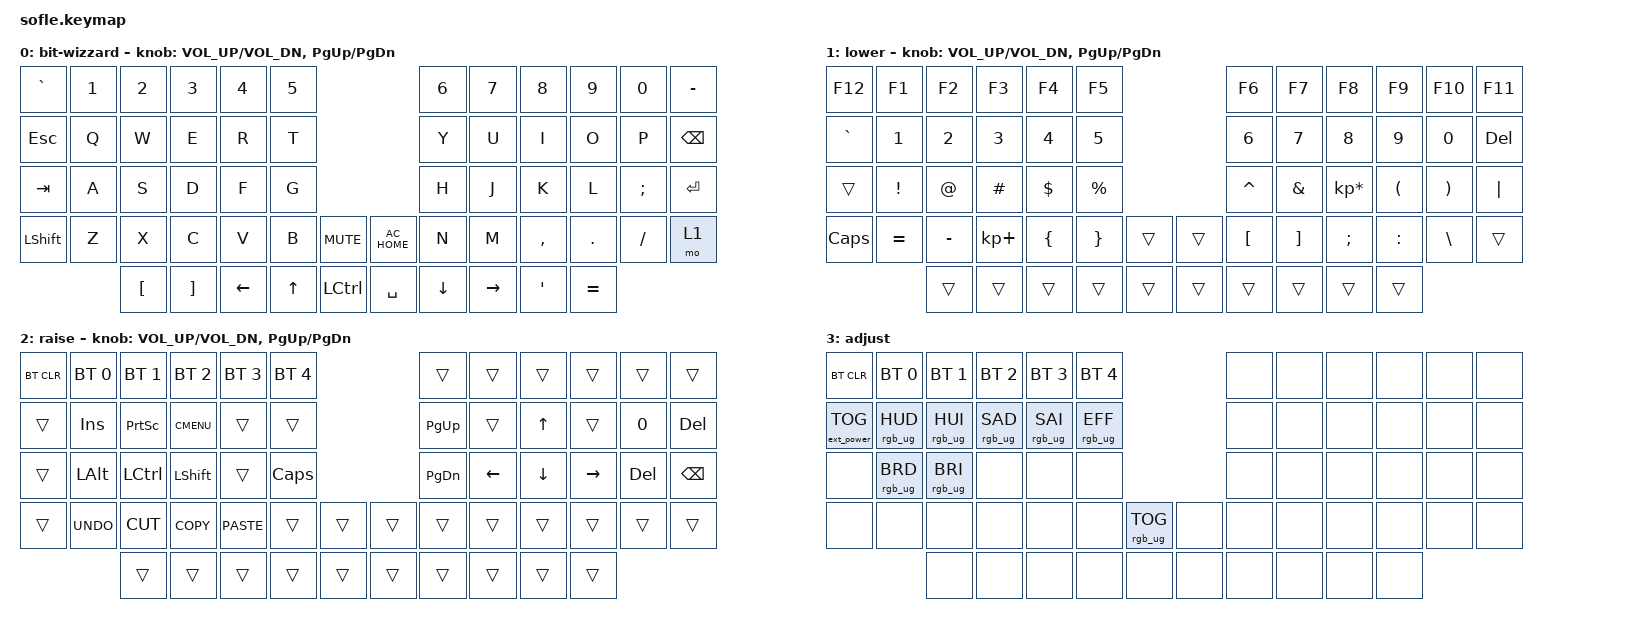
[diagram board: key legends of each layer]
/*
 * Copyright (c) 2020 The ZMK Contributors
 *
 * SPDX-License-Identifier: MIT
 */

#include <behaviors.dtsi>
#include <dt-bindings/zmk/bt.h>
#include <dt-bindings/zmk/ext_power.h>
#include <dt-bindings/zmk/keys.h>
#include <dt-bindings/zmk/rgb.h>

#define BASE 0
#define LOWER 1
#define RAISE 2
#define ADJUST 3

/ {
    // Activate ADJUST layer by pressing raise and lower

    conditional_layers {
        compatible = "zmk,conditional-layers";

        adjust_layer {
            if-layers = <LOWER RAISE>;
            then-layer = <ADJUST>;
        };
    };

    keymap {
        compatible = "zmk,keymap";

        argun_keyboard {
            display-name = "bit-wizzard";

            // ------------------------------------------------------------------------------------------------------------
            // |   `   |  1  |  2  |  3   |  4   |  5   |                   |  6   |  7    |  8    |  9   |   0   |  F5   |
            // |  ESC  |  Q  |  W  |  E   |  R   |  T   |                   |  Y   |  U    |  I    |  O   |   P   | BKSPC |
            // |  TAB  |  A  |  S  |  D   |  F   |  G   |                   |  H   |  J    |  K    |  L   |   ;   |   '   |
            // | SHIFT |  Z  |  X  |  C   |  V   |  B   |  MUTE  |  |       |  N   |  M    |  ,    |  .   |   /   | SHIFT |
            //               | GUI | ALT  | CTRL | LOWER|  ENTER |  | SPACE | RAISE| CTRL  | ALT   | GUI  |

            bindings = <
&kp GRAVE  &kp N1  &kp N2            &kp N3             &kp N4    &kp N5                                           &kp N6    &kp N7     &kp N8     &kp N9     &kp N0     &kp MINUS
&kp ESC    &kp Q   &kp W             &kp E              &kp R     &kp T                                            &kp Y     &kp U      &kp I      &kp O      &kp P      &kp BSPC
&kp TAB    &kp A   &kp S             &kp D              &kp F     &kp G                                            &kp H     &kp J      &kp K      &kp L      &kp SEMI   &kp ENTER
&kp LSHFT  &kp Z   &kp X             &kp C              &kp V     &kp B         &kp K_MUTE          &kp C_AC_HOME  &kp N     &kp M      &kp COMMA  &kp DOT    &kp SLASH  &mo 1
                   &kp LEFT_BRACKET  &kp RIGHT_BRACKET  &kp LEFT  &kp UP_ARROW  &kp LEFT_CONTROL    &kp SPACE      &kp DOWN  &kp RIGHT  &kp SQT    &kp EQUAL
            >;

            sensor-bindings = <&inc_dec_kp C_VOL_UP C_VOL_DN &inc_dec_kp PG_UP PG_DN>;
        };

        lower_layer {
            display-name = "lower";

            // TODO: Some binds are waiting for shifted keycode support.
            // ------------------------------------------------------------------------------------------------------------
            // |       |  F1 |  F2 |  F3  |  F4  |  F5  |                   |  F6  |  F7   |  F8   |  F9  |  F10  |  F11  |
            // |   `   |  1  |  2  |  3   |  4   |  5   |                   |  6   |  7    |  8    |  9   |   0   |  F12  |
            // |       |  !  |  @  |  #   |  $   |  %   |                   |  ^   |  &    |  *    |  (   |   )   |   |   |
            // |       |  =  |  -  |  +   |  {   |  }   |        |  |       |  [   |  ]    |  ;    |  :   |   \   |       |
            //               |     |      |      |      |        |  |       |      |       |       |      |

            bindings = <
&kp F12    &kp F1     &kp F2     &kp F3       &kp F4    &kp F5                       &kp F6     &kp F7    &kp F8           &kp F9     &kp F10   &kp F11
&kp GRAVE  &kp N1     &kp N2     &kp N3       &kp N4    &kp N5                       &kp N6     &kp N7    &kp N8           &kp N9     &kp N0    &kp DELETE
&trans     &kp EXCL   &kp AT     &kp HASH     &kp DLLR  &kp PRCNT                    &kp CARET  &kp AMPS  &kp KP_MULTIPLY  &kp LPAR   &kp RPAR  &kp PIPE
&kp CAPS   &kp EQUAL  &kp MINUS  &kp KP_PLUS  &kp LBRC  &kp RBRC   &trans    &trans  &kp LBKT   &kp RBKT  &kp SEMI         &kp COLON  &kp BSLH  &trans
                      &trans     &trans       &trans    &trans     &trans    &trans  &trans     &trans    &trans           &trans
            >;

            sensor-bindings = <&inc_dec_kp C_VOL_UP C_VOL_DN &inc_dec_kp PG_UP PG_DN>;
        };

        raise_layer {
            display-name = "raise";

            // ------------------------------------------------------------------------------------------------------------
            // | BTCLR | BT1  | BT2  |  BT3  |  BT4  |  BT5 |                |      |      |       |      |       |       |
            // |       | INS  | PSCR | GUI   |       |      |                | PGUP |      |   ^   |      |       |       |
            // |       | ALT  | CTRL | SHIFT |       | CAPS |                | PGDN |   <- |   v   |  ->  |  DEL  | BKSPC |
            // |       | UNDO | CUT  | COPY  | PASTE |      |      |  |      |      |      |       |      |       |       |
            //                |      |       |       |      |      |  |      |      |      |       |      |

            bindings = <
&bt BT_CLR  &bt BT_SEL 0  &bt BT_SEL 1  &bt BT_SEL 2  &bt BT_SEL 3  &bt BT_SEL 4                    &trans     &trans    &trans    &trans     &trans   &trans
&trans      &kp INS       &kp PSCRN     &kp K_CMENU   &trans        &trans                          &kp PG_UP  &trans    &kp UP    &trans     &kp N0   &kp DELETE
&trans      &kp LALT      &kp LCTRL     &kp LSHFT     &trans        &kp CLCK                        &kp PG_DN  &kp LEFT  &kp DOWN  &kp RIGHT  &kp DEL  &kp BSPC
&trans      &kp K_UNDO    &kp K_CUT     &kp K_COPY    &kp K_PASTE   &trans        &trans    &trans  &trans     &trans    &trans    &trans     &trans   &trans
                          &trans        &trans        &trans        &trans        &trans    &trans  &trans     &trans    &trans    &trans
            >;

            sensor-bindings = <&inc_dec_kp C_VOL_UP C_VOL_DN &inc_dec_kp PG_UP PG_DN>;
        };

        adjust_layer {
            // ----------------------------------------------------------------------------------------------------------------------------
            // | BTCLR  |  BT1    |  BT2    |   BT3   |   BT4   |   BT5   |                  |      |      |       |      |       |       |
            // | EXTPWR | RGB_HUD | RGB_HUI | RGB_SAD | RGB_SAI | RGB_EFF |                  |      |      |       |      |       |       |
            // |        | RGB_BRD | RGB_BRI |         |         |         |                  |      |      |       |      |       |       |
            // |        |         |         |         |         |         | RGB_TOG | |      |      |      |       |      |       |       |
            //                    |         |         |         |         |         | |      |      |      |       |      |

            display-name = "adjust";
            bindings = <
&bt BT_CLR         &bt BT_SEL 0     &bt BT_SEL 1     &bt BT_SEL 2     &bt BT_SEL 3     &bt BT_SEL 4                               &none  &none  &none  &none  &none  &none
&ext_power EP_TOG  &rgb_ug RGB_HUD  &rgb_ug RGB_HUI  &rgb_ug RGB_SAD  &rgb_ug RGB_SAI  &rgb_ug RGB_EFF                            &none  &none  &none  &none  &none  &none
&none              &rgb_ug RGB_BRD  &rgb_ug RGB_BRI  &none            &none            &none                                      &none  &none  &none  &none  &none  &none
&none              &none            &none            &none            &none            &none            &rgb_ug RGB_TOG    &none  &none  &none  &none  &none  &none  &none
                                    &none            &none            &none            &none            &none              &none  &none  &none  &none  &none
            >;
        };
    };
};
